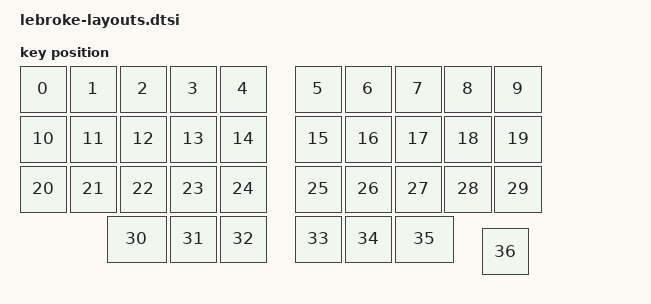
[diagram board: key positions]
#include <physical_layouts.dtsi>
/ {
    lebroke_physical_layout: lebroke_physical_layout {
        compatible = "zmk,physical-layout";
        display-name = "lebroke";
        kscan = <&kscan0>;
        transform = <&default_transform>;

        keys  //                     w   h    x    y     rot    rx    ry
            = <&key_physical_attrs 100 100    0    0       0     0     0>
            , <&key_physical_attrs 100 100  100    0       0     0     0>
            , <&key_physical_attrs 100 100  200    0       0     0     0>
            , <&key_physical_attrs 100 100  300    0       0     0     0>
            , <&key_physical_attrs 100 100  400    0       0     0     0>
            , <&key_physical_attrs 100 100  550    0       0     0     0>
            , <&key_physical_attrs 100 100  650    0       0     0     0>
            , <&key_physical_attrs 100 100  750    0       0     0     0>
            , <&key_physical_attrs 100 100  850    0       0     0     0>
            , <&key_physical_attrs 100 100  950    0       0     0     0>
            , <&key_physical_attrs 100 100    0  100       0     0     0>
            , <&key_physical_attrs 100 100  100  100       0     0     0>
            , <&key_physical_attrs 100 100  200  100       0     0     0>
            , <&key_physical_attrs 100 100  300  100       0     0     0>
            , <&key_physical_attrs 100 100  400  100       0     0     0>
            , <&key_physical_attrs 100 100  550  100       0     0     0>
            , <&key_physical_attrs 100 100  650  100       0     0     0>
            , <&key_physical_attrs 100 100  750  100       0     0     0>
            , <&key_physical_attrs 100 100  850  100       0     0     0>
            , <&key_physical_attrs 100 100  950  100       0     0     0>
            , <&key_physical_attrs 100 100    0  200       0     0     0>
            , <&key_physical_attrs 100 100  100  200       0     0     0>
            , <&key_physical_attrs 100 100  200  200       0     0     0>
            , <&key_physical_attrs 100 100  300  200       0     0     0>
            , <&key_physical_attrs 100 100  400  200       0     0     0>
            , <&key_physical_attrs 100 100  550  200       0     0     0>
            , <&key_physical_attrs 100 100  650  200       0     0     0>
            , <&key_physical_attrs 100 100  750  200       0     0     0>
            , <&key_physical_attrs 100 100  850  200       0     0     0>
            , <&key_physical_attrs 100 100  950  200       0     0     0>
            , <&key_physical_attrs 125 100  175  300       0     0     0>
            , <&key_physical_attrs 100 100  300  300       0     0     0>
            , <&key_physical_attrs 100 100  400  300       0     0     0>
            , <&key_physical_attrs 100 100  550  300       0     0     0>
            , <&key_physical_attrs 100 100  650  300       0     0     0>
            , <&key_physical_attrs 125 100  750  300       0     0     0>
            , <&key_physical_attrs 100 100  925  325       0     0     0>
            ;
    };

    position_map {
        compatible = "zmk,physical-layout-position-map";

        complete;

        lebroke_physical_layout {
            physical-layout = <&lebroke_physical_layout>;
            positions = < 0  1  2  3  4  5  6  7  8  9 >
		      , < 10 11 12 13 14 15 16 17 18 19>
		      , < 20 21 22 23 24 25 26 27 28 29>
			    , < 30 31 32 33 34 35    36>;
        };
    };
};
